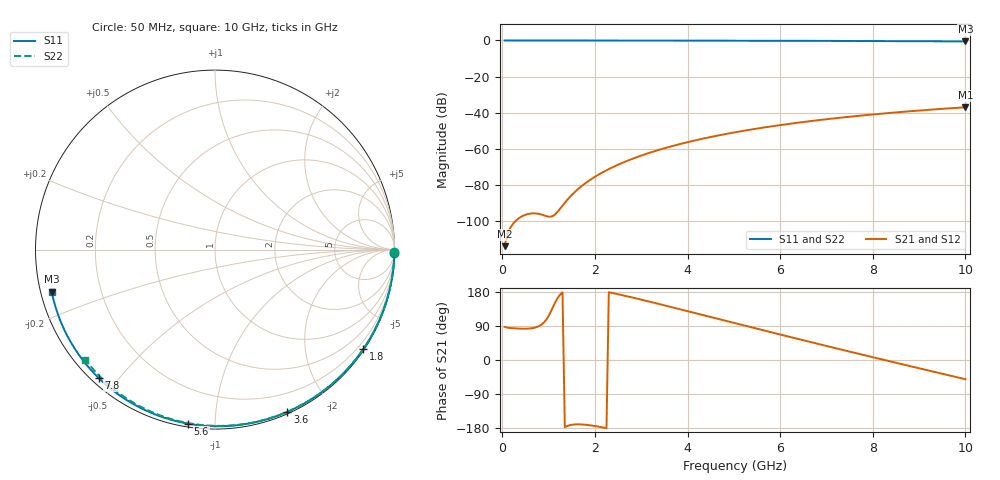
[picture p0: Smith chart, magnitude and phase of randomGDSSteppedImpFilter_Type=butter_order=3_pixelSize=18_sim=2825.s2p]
! freq	dB(S11)	phase(S11)	dB(S12)	phase(S12)
!  dB(S21)	phase(S21)	dB(S22)	phase(S22)
!S-par simulation data
#  GHz  S  DB  R 50
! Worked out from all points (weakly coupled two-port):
!   200 points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, 50 MHz to 10 GHz, reference 50 ohm
!   highest |S21| = -37.05 dB at 10 GHz (marker M1); lowest = -114.0 dB at 50 MHz (marker M2)
!   lowest |S11| = -0.5 dB at 10 GHz (marker M3), VSWR 32.21, Z = 1.58 - j6.35 ohm
!   |S11| at or under -10 dB: nowhere
!   |S22| runs from -0.5 to 0.0 dB; largest |S21 - S12| = 0
!   S11 on the Smith chart (normalised r, x): 50 MHz: open; 1.8 GHz: 0.03, -3.28; 3.6 GHz: 0.02, -1.54; 5.6 GHz: 0.02, -0.86; 7.8 GHz: 0.02, -0.44; 10 GHz: 0.03, -0.13
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0.05  -0.00 -1.0  -114.02 87.3  -114.02 87.3  -0.00 -0.8
0.45  -0.01 -8.6  -97.14 82.6  -97.14 82.6  -0.01 -7.3
0.85  -0.02 -16.2  -96.53 93.7  -96.53 93.7  -0.02 -13.7
1.3  -0.03 -24.7  -91.53 178.6  -91.53 178.6  -0.03 -20.8
1.75  -0.04 -33.0  -79.99 -170.3  -79.99 -170.3  -0.04 -27.9
1.8  -0.04 -33.9  -79.02 -170.9  -79.02 -170.9  -0.04 -28.6
2.1  -0.05 -39.4  -74.05 -176.3  -74.05 -176.3  -0.04 -33.3
2.3  -0.05 -43.1  -71.30 178.9  -71.30 178.9  -0.05 -36.4
2.5  -0.06 -46.7  -68.87 173.6  -68.87 173.6  -0.05 -39.5
2.9  -0.07 -53.8  -64.73 162.3  -64.73 162.3  -0.06 -45.5
3.4  -0.08 -62.5  -60.50 147.3  -60.50 147.3  -0.07 -53.0
3.6  -0.09 -66.0  -59.03 141.2  -59.03 141.2  -0.08 -55.9
4.3  -0.11 -77.8  -54.60 119.6  -54.60 119.6  -0.09 -66.1
5.05  -0.14 -90.0  -50.79 96.4  -50.79 96.4  -0.12 -76.6
5.6  -0.16 -98.7  -48.44 79.5  -48.44 79.5  -0.14 -84.1
6.15  -0.19 -107.3  -46.38 62.7  -46.38 62.7  -0.16 -91.5
6.7  -0.22 -115.7  -44.56 46.0  -44.56 46.0  -0.19 -98.7
7.25  -0.26 -124.0  -42.95 29.6  -42.95 29.6  -0.22 -105.7
7.8  -0.31 -132.2  -41.51 13.2  -41.51 13.2  -0.26 -112.6
8.35  -0.36 -140.4  -40.21 -2.9  -40.21 -2.9  -0.31 -119.5
9.2  -0.44 -153.2  -38.45 -27.6  -38.45 -27.6  -0.38 -129.9
10  -0.54 -165.5  -37.05 -50.7  -37.05 -50.7  -0.47 -139.7
